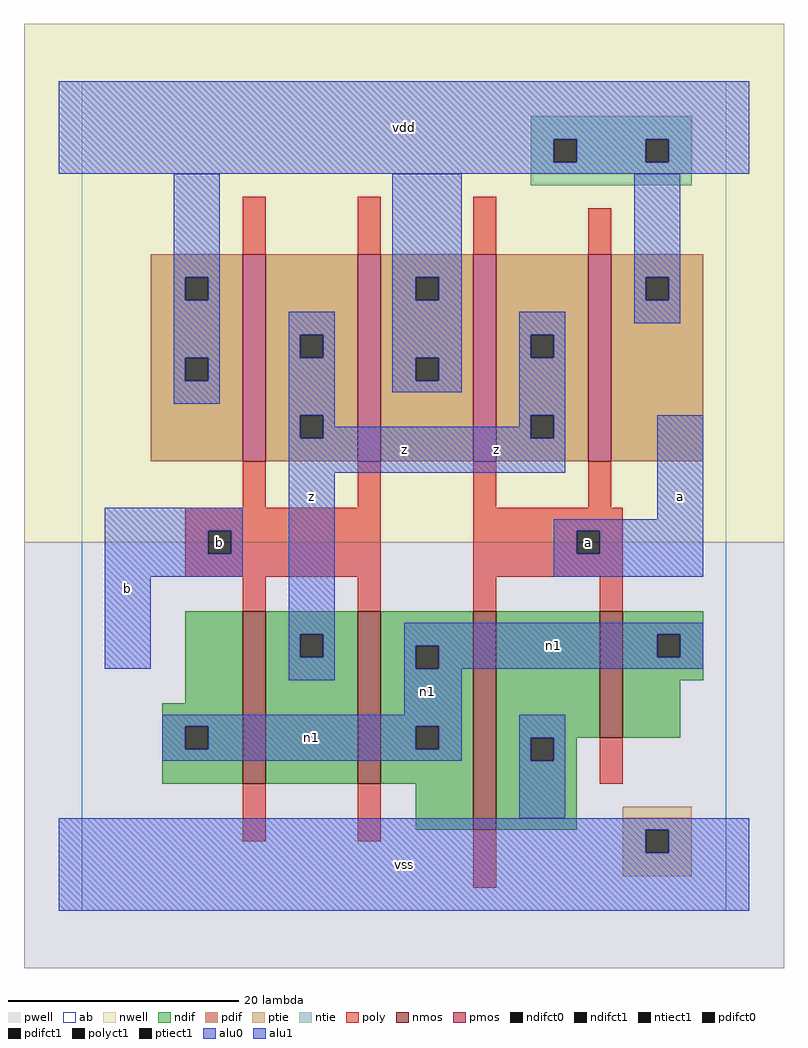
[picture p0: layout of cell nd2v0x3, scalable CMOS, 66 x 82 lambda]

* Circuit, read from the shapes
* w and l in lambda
.subckt nd2v0x3 a b n1 vdd vss z
M1 z b n1 vss nfet w=15 l=2 m=2
M2 vss a n1 vss nfet w=19 l=2
M3 n1 a vss vss nfet w=11 l=2
M4 z b vdd vdd pfet w=18 l=2 m=2
M5 z a vdd vdd pfet w=18 l=2 m=2
.ends

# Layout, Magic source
magic
tech scmos
<< ab >>
rect 0 0 56 72
<< nwell >>
rect -5 32 61 77
<< pwell >>
rect -5 -5 61 32
<< poly >>
rect 14 57 16 62
rect 24 57 26 62
rect 34 57 36 62
rect 44 57 46 61
rect 14 35 16 39
rect 24 35 26 39
rect 9 33 26 35
rect 9 31 11 33
rect 13 31 26 33
rect 9 29 26 31
rect 14 26 16 29
rect 24 26 26 29
rect 34 35 36 39
rect 44 35 46 39
rect 34 33 47 35
rect 34 31 43 33
rect 45 31 47 33
rect 34 29 47 31
rect 34 26 36 29
rect 45 26 47 29
rect 14 6 16 11
rect 24 6 26 11
rect 45 11 47 15
rect 34 2 36 7
<< ndif >>
rect 9 18 14 26
rect 7 16 14 18
rect 7 14 9 16
rect 11 14 14 16
rect 7 11 14 14
rect 16 24 24 26
rect 16 22 19 24
rect 21 22 24 24
rect 16 11 24 22
rect 26 23 34 26
rect 26 21 29 23
rect 31 21 34 23
rect 26 16 34 21
rect 26 14 29 16
rect 31 14 34 16
rect 26 11 34 14
rect 29 7 34 11
rect 36 15 45 26
rect 47 24 54 26
rect 47 22 50 24
rect 52 22 54 24
rect 47 20 54 22
rect 47 15 52 20
rect 36 13 39 15
rect 41 13 43 15
rect 36 7 43 13
<< pdif >>
rect 6 55 14 57
rect 6 53 9 55
rect 11 53 14 55
rect 6 48 14 53
rect 6 46 9 48
rect 11 46 14 48
rect 6 39 14 46
rect 16 50 24 57
rect 16 48 19 50
rect 21 48 24 50
rect 16 43 24 48
rect 16 41 19 43
rect 21 41 24 43
rect 16 39 24 41
rect 26 55 34 57
rect 26 53 29 55
rect 31 53 34 55
rect 26 48 34 53
rect 26 46 29 48
rect 31 46 34 48
rect 26 39 34 46
rect 36 50 44 57
rect 36 48 39 50
rect 41 48 44 50
rect 36 43 44 48
rect 36 41 39 43
rect 41 41 44 43
rect 36 39 44 41
rect 46 55 54 57
rect 46 53 49 55
rect 51 53 54 55
rect 46 39 54 53
<< alu1 >>
rect -2 67 58 72
rect -2 65 41 67
rect 43 65 49 67
rect 51 65 58 67
rect -2 64 58 65
rect 18 50 22 52
rect 18 48 19 50
rect 21 48 22 50
rect 18 43 22 48
rect 38 50 42 52
rect 38 48 39 50
rect 41 48 42 50
rect 18 41 19 43
rect 21 42 22 43
rect 38 43 42 48
rect 38 42 39 43
rect 21 41 39 42
rect 41 41 42 43
rect 18 38 42 41
rect 2 33 14 35
rect 2 31 11 33
rect 13 31 14 33
rect 2 29 14 31
rect 2 21 6 29
rect 18 24 22 38
rect 50 34 54 43
rect 41 33 54 34
rect 41 31 43 33
rect 45 31 54 33
rect 41 29 54 31
rect 18 22 19 24
rect 21 22 22 24
rect 18 20 22 22
rect -2 7 58 8
rect -2 5 49 7
rect 51 5 58 7
rect -2 0 58 5
<< ptie >>
rect 47 7 53 9
rect 47 5 49 7
rect 51 5 53 7
rect 47 3 53 5
<< ntie >>
rect 39 67 53 69
rect 39 65 41 67
rect 43 65 49 67
rect 51 65 53 67
rect 39 63 53 65
<< nmos >>
rect 14 11 16 26
rect 24 11 26 26
rect 34 7 36 26
rect 45 15 47 26
<< pmos >>
rect 14 39 16 57
rect 24 39 26 57
rect 34 39 36 57
rect 44 39 46 57
<< polyct1 >>
rect 11 31 13 33
rect 43 31 45 33
<< ndifct0 >>
rect 9 14 11 16
rect 29 21 31 23
rect 29 14 31 16
rect 50 22 52 24
rect 39 13 41 15
<< ndifct1 >>
rect 19 22 21 24
<< ntiect1 >>
rect 41 65 43 67
rect 49 65 51 67
<< ptiect1 >>
rect 49 5 51 7
<< pdifct0 >>
rect 9 53 11 55
rect 9 46 11 48
rect 29 53 31 55
rect 29 46 31 48
rect 49 53 51 55
<< pdifct1 >>
rect 19 48 21 50
rect 19 41 21 43
rect 39 48 41 50
rect 39 41 41 43
<< alu0 >>
rect 8 55 12 64
rect 8 53 9 55
rect 11 53 12 55
rect 8 48 12 53
rect 27 55 33 64
rect 27 53 29 55
rect 31 53 33 55
rect 8 46 9 48
rect 11 46 12 48
rect 8 44 12 46
rect 27 48 33 53
rect 48 55 52 64
rect 48 53 49 55
rect 51 53 52 55
rect 27 46 29 48
rect 31 46 33 48
rect 27 45 33 46
rect 48 51 52 53
rect 28 24 54 25
rect 28 23 50 24
rect 28 21 29 23
rect 31 22 50 23
rect 52 22 54 24
rect 31 21 54 22
rect 28 17 33 21
rect 7 16 33 17
rect 7 14 9 16
rect 11 14 29 16
rect 31 14 33 16
rect 7 13 33 14
rect 38 15 42 17
rect 38 13 39 15
rect 41 13 42 15
rect 38 8 42 13
<< labels >>
rlabel alu0 20 15 20 15 6 n1
rlabel alu0 30 19 30 19 6 n1
rlabel alu0 41 23 41 23 6 n1
rlabel alu1 4 28 4 28 6 b
rlabel polyct1 12 32 12 32 6 b
rlabel alu1 20 36 20 36 6 z
rlabel alu1 28 4 28 4 6 vss
rlabel alu1 36 40 36 40 6 z
rlabel alu1 28 40 28 40 6 z
rlabel alu1 28 68 28 68 6 vdd
rlabel polyct1 44 32 44 32 6 a
rlabel alu1 52 36 52 36 6 a
<< end >>
